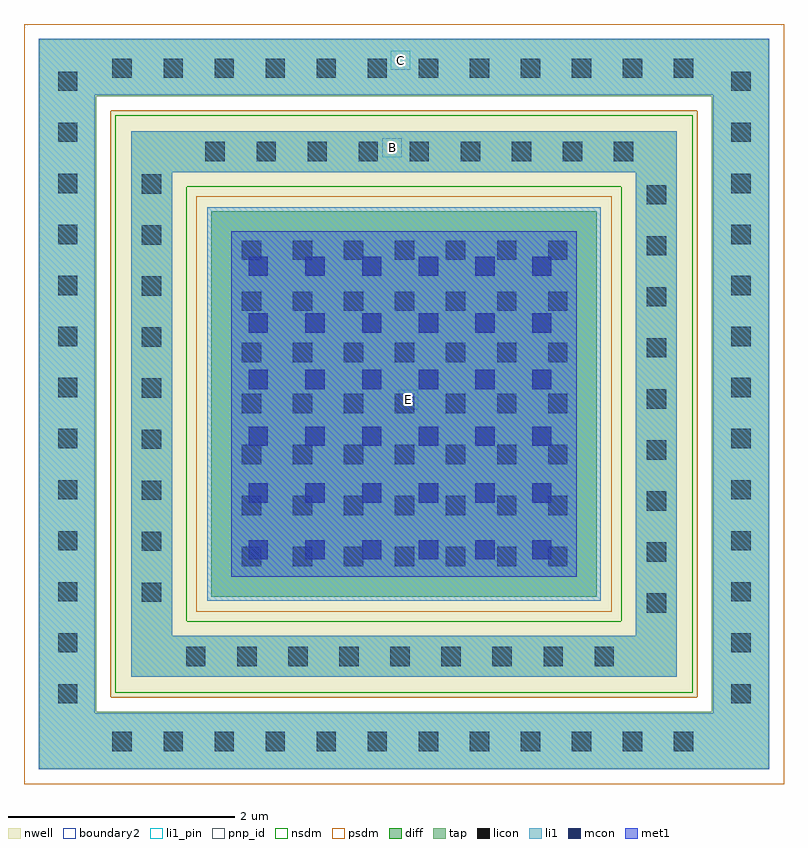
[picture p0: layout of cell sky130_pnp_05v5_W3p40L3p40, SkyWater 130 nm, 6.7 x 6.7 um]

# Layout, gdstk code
import gdstk
lib = gdstk.Library(unit=1e-6, precision=1e-09)
def R(c, l, rs):  # rectangles x0, y0, x1, y1
    for r in rs: c.add(gdstk.rectangle(r[:2], r[2:], *l))
def A(c, l, x, y, w, h, nx, ny, dx, dy):  # array of equal rectangles
    R(c, l, [(x+i*dx, y+j*dy, x+i*dx+w, y+j*dy+h) for i in range(nx) for j in range(ny)])
def P(c, l, *ps):  # polygons
    for p in ps: c.add(gdstk.Polygon(p, *l))
nwell = (64, 20)
diff = (65, 20)
tap = (65, 44)
licon = (66, 44)
li1_pin = (67, 16)
li1 = (67, 20)
mcon = (67, 44)
met1 = (68, 20)
pnp_id = (82, 44)
nsdm = (93, 44)
psdm = (94, 20)
boundary2 = (236, 0)

sky130_pnp_05v5_w3p40l3p = lib.new_cell('sky130_pnp_05v5_W3p40L3p40')
R(sky130_pnp_05v5_w3p40l3p, nwell, [(0.765,0.765,5.935,5.935)])
R(sky130_pnp_05v5_w3p40l3p, diff, [(1.65,1.65,5.05,5.05)])
P(sky130_pnp_05v5_w3p40l3p, tap, [(0.945,0.945),(0.945,5.755),(5.395,5.755),(5.395,5.395),(1.305,5.395),(1.305,1.305),(5.395,1.305),(5.395,5.755),(5.755,5.755),(5.755,0.945)],
  [(0.13,0.13),(0.13,6.57),(6.065,6.57),(6.065,6.065),(0.635,6.065),(0.635,0.635),(6.065,0.635),(6.065,6.57),(6.57,6.57),(6.57,0.13)])
A(sky130_pnp_05v5_w3p40l3p, licon, 0.78, 0.29, 0.17, 0.17, 12, 2, 0.45, 5.935)
A(sky130_pnp_05v5_w3p40l3p, licon, 0.3, 0.71, 0.17, 0.17, 1, 13, 0, 0.45)
A(sky130_pnp_05v5_w3p40l3p, licon, 6.235, 0.71, 0.17, 0.17, 1, 13, 0, 0.45)
A(sky130_pnp_05v5_w3p40l3p, licon, 1.43, 1.04, 0.17, 0.17, 9, 1, 0.45, 0)
A(sky130_pnp_05v5_w3p40l3p, licon, 5.49, 1.51, 0.17, 0.17, 1, 9, 0, 0.45)
A(sky130_pnp_05v5_w3p40l3p, licon, 1.04, 1.605, 0.17, 0.17, 1, 9, 0, 0.45)
A(sky130_pnp_05v5_w3p40l3p, licon, 1.92, 1.92, 0.17, 0.17, 7, 7, 0.45, 0.45)
A(sky130_pnp_05v5_w3p40l3p, licon, 1.6, 5.49, 0.17, 0.17, 9, 1, 0.45, 0)
R(sky130_pnp_05v5_w3p40l3p, li1_pin, [(3.305,3.305,3.475,3.475), (3.16,5.525,3.33,5.695), (3.235,6.295,3.405,6.465)])
A(sky130_pnp_05v5_w3p40l3p, li1, 0.58, 0.21, 0.33, 0.33, 12, 1, 0.45, 0)
A(sky130_pnp_05v5_w3p40l3p, li1, 0.675, 0.24, 0.27, 0.27, 11, 2, 0.5, 5.96)
A(sky130_pnp_05v5_w3p40l3p, li1, 6.16, 0.54, 0.33, 0.33, 1, 13, 0, 0.45)
A(sky130_pnp_05v5_w3p40l3p, li1, 0.22, 0.63, 0.33, 0.33, 1, 13, 0, 0.45)
A(sky130_pnp_05v5_w3p40l3p, li1, 1.35, 0.96, 0.33, 0.33, 9, 1, 0.45, 0)
A(sky130_pnp_05v5_w3p40l3p, li1, 1.14, 0.985, 0.27, 0.27, 9, 1, 0.5, 0)
A(sky130_pnp_05v5_w3p40l3p, li1, 5.41, 1.43, 0.33, 0.33, 1, 9, 0, 0.45)
A(sky130_pnp_05v5_w3p40l3p, li1, 0.96, 1.525, 0.33, 0.33, 1, 9, 0, 0.45)
A(sky130_pnp_05v5_w3p40l3p, li1, 1.84, 1.84, 0.33, 0.33, 7, 7, 0.45, 0.45)
A(sky130_pnp_05v5_w3p40l3p, li1, 1.93, 1.93, 0.27, 0.27, 6, 6, 0.5, 0.5)
A(sky130_pnp_05v5_w3p40l3p, li1, 1.52, 5.41, 0.33, 0.33, 9, 1, 0.45, 0)
A(sky130_pnp_05v5_w3p40l3p, li1, 1.155, 5.44, 0.27, 0.27, 9, 1, 0.5, 0)
A(sky130_pnp_05v5_w3p40l3p, li1, 0.7, 6.165, 0.33, 0.33, 12, 1, 0.45, 0)
R(sky130_pnp_05v5_w3p40l3p, li1, [(1.615,1.615,5.085,5.085), (1.65,1.65,5.05,5.05)])
P(sky130_pnp_05v5_w3p40l3p, li1, [(0.13,0.13),(0.13,6.57),(6.075,6.57),(6.075,6.075),(0.625,6.075),(0.625,0.625),(6.075,0.625),(6.075,6.57),(6.57,6.57),(6.57,0.13)],
  [(0.945,0.945),(0.945,5.755),(5.395,5.755),(5.395,5.395),(1.305,5.395),(1.305,1.305),(5.395,1.305),(5.395,5.755),(5.755,5.755),(5.755,0.945)])
A(sky130_pnp_05v5_w3p40l3p, mcon, 1.98, 1.98, 0.17, 0.17, 6, 6, 0.5, 0.5)
A(sky130_pnp_05v5_w3p40l3p, met1, 1.93, 1.93, 0.27, 0.27, 6, 6, 0.5, 0.5)
R(sky130_pnp_05v5_w3p40l3p, met1, [(1.825,1.825,4.875,4.875)])
R(sky130_pnp_05v5_w3p40l3p, pnp_id, [(0.135,0.135,6.565,6.565)])
P(sky130_pnp_05v5_w3p40l3p, nsdm, [(0.805,0.805),(0.805,5.895),(5.265,5.895),(5.265,5.265),(1.435,5.265),(1.435,1.435),(5.265,1.435),(5.265,5.895),(5.895,5.895),(5.895,0.805)])
R(sky130_pnp_05v5_w3p40l3p, psdm, [(1.52,1.52,5.18,5.18)])
P(sky130_pnp_05v5_w3p40l3p, psdm, [(0,0),(0,6.7),(5.935,6.7),(5.935,5.935),(0.765,5.935),(0.765,0.765),(5.935,0.765),(5.935,6.7),(6.7,6.7),(6.7,0)])
R(sky130_pnp_05v5_w3p40l3p, boundary2, [(0.13,0.13,6.57,6.57)])
sky130_pnp_05v5_w3p40l3p.add(gdstk.Label('E', (3.39,3.39), layer=67, texttype=5))
sky130_pnp_05v5_w3p40l3p.add(gdstk.Label('C', (3.32,6.38), layer=67, texttype=5))
sky130_pnp_05v5_w3p40l3p.add(gdstk.Label('B', (3.245,5.61), layer=67, texttype=5))

lib.write_gds('sky130_pnp_05v5_W3p40L3p40.gds')
